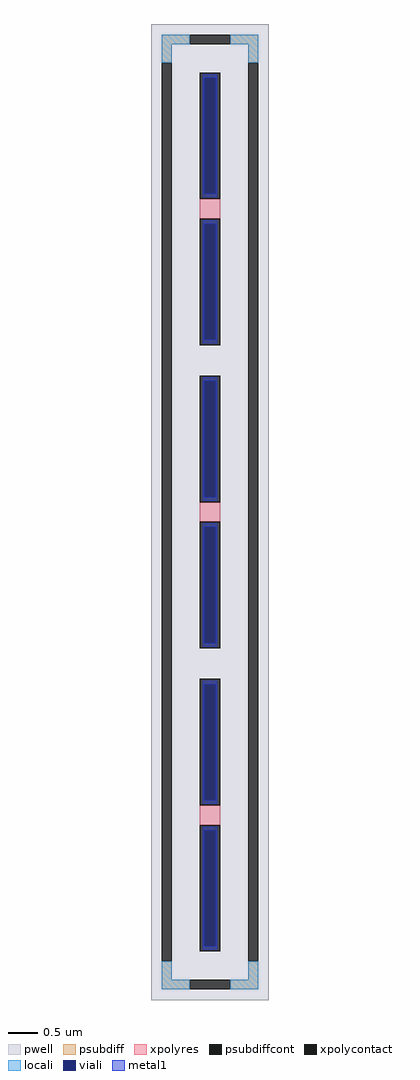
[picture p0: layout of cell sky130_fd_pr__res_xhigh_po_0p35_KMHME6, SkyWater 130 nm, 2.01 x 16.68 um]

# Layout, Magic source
magic
tech sky130A
magscale 1 2
<< pwell >>
rect -201 -1668 201 1668
<< psubdiff >>
rect -165 1598 -69 1632
rect 69 1598 165 1632
rect -165 1536 -131 1598
rect 131 1536 165 1598
rect -165 -1598 -131 -1536
rect 131 -1598 165 -1536
rect -165 -1632 -69 -1598
rect 69 -1632 165 -1598
<< psubdiffcont >>
rect -69 1598 69 1632
rect -165 -1536 -131 1536
rect 131 -1536 165 1536
rect -69 -1632 69 -1598
<< xpolycontact >>
rect -35 1070 35 1502
rect -35 570 35 1002
rect -35 34 35 466
rect -35 -466 35 -34
rect -35 -1002 35 -570
rect -35 -1502 35 -1070
<< xpolyres >>
rect -35 1002 35 1070
rect -35 -34 35 34
rect -35 -1070 35 -1002
<< locali >>
rect -165 1598 -69 1632
rect 69 1598 165 1632
rect -165 1536 -131 1598
rect 131 1536 165 1598
rect -165 -1598 -131 -1536
rect 131 -1598 165 -1536
rect -165 -1632 -69 -1598
rect 69 -1632 165 -1598
<< viali >>
rect -19 1087 19 1484
rect -19 588 19 985
rect -19 51 19 448
rect -19 -448 19 -51
rect -19 -985 19 -588
rect -19 -1484 19 -1087
<< metal1 >>
rect -25 1484 25 1496
rect -25 1087 -19 1484
rect 19 1087 25 1484
rect -25 1075 25 1087
rect -25 985 25 997
rect -25 588 -19 985
rect 19 588 25 985
rect -25 576 25 588
rect -25 448 25 460
rect -25 51 -19 448
rect 19 51 25 448
rect -25 39 25 51
rect -25 -51 25 -39
rect -25 -448 -19 -51
rect 19 -448 25 -51
rect -25 -460 25 -448
rect -25 -588 25 -576
rect -25 -985 -19 -588
rect 19 -985 25 -588
rect -25 -997 25 -985
rect -25 -1087 25 -1075
rect -25 -1484 -19 -1087
rect 19 -1484 25 -1087
rect -25 -1496 25 -1484
<< properties >>
string FIXED_BBOX -148 -1615 148 1615
string gencell sky130_fd_pr__res_xhigh_po_0p35
string library sky130
string parameters w 0.350 l 0.50 m 3 nx 1 wmin 0.350 lmin 0.50 rho 2000 val 3.932k dummy 0 dw 0.0 term 188.2 sterm 0.0 caplen 0 wmax 0.350 guard 1 glc 1 grc 1 gtc 1 gbc 1 compatible {sky130_fd_pr__res_xhigh_po_0p35  sky130_fd_pr__res_xhigh_po_0p69 sky130_fd_pr__res_xhigh_po_1p41  sky130_fd_pr__res_xhigh_po_2p85 sky130_fd_pr__res_xhigh_po_5p73} snake 0 full_metal 1 n_guard 0 hv_guard 0 vias 1 viagb 0 viagt 0 viagl 0 viagr 0
<< end >>
